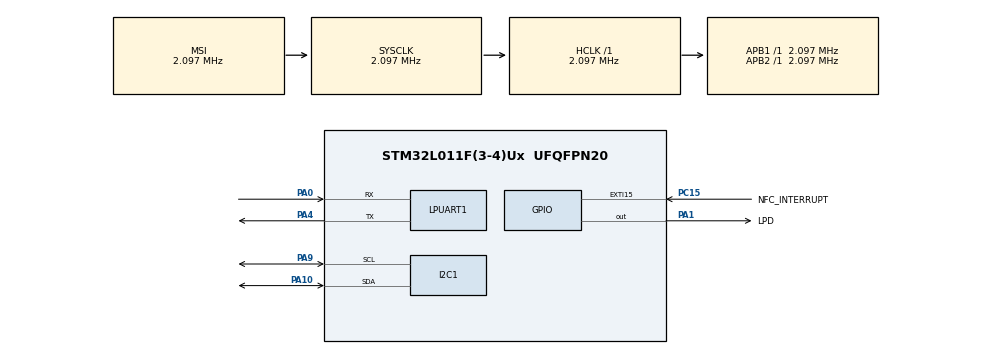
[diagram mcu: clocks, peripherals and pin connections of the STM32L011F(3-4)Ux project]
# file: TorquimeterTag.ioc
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I2C1.Timing=0x00000608
Mcu.Family=STM32L0
Mcu.Name=STM32L011F(3-4)Ux
Mcu.Package=UFQFPN20
NVIC.EXTI4_15_IRQn=true\:0\:0\:false\:false\:true\:true\:true\:true
NVIC.RTC_IRQn=true\:0\:0\:false\:false\:true\:true\:true\:true
PA0-CK_IN.Mode=Asynchronous
PA0-CK_IN.Signal=LPUART1_RX
PA1.GPIO_Label=LPD
PA1.Signal=GPIO_Output
PA10.Mode=I2C
PA10.Signal=I2C1_SDA
PA4.Mode=Asynchronous
PA4.Signal=LPUART1_TX
PA9.Mode=I2C
PA9.Signal=I2C1_SCL
PC15-OSC32_OUT.GPIO_Label=NFC_INTERRUPT
PC15-OSC32_OUT.Signal=GPXTI15
ProjectManager.HeapSize=0x200
ProjectManager.StackSize=0x400
ProjectManager.TargetToolchain=STM32CubeIDE
RCC.AHBFreq_Value=2097000
RCC.APB1Freq_Value=2097000
RCC.APB1TimFreq_Value=2097000
RCC.APB2Freq_Value=2097000
RCC.APB2TimFreq_Value=2097000
RCC.HSE_VALUE=8000000
RCC.HSI16_VALUE=16000000
RCC.HSI_VALUE=16000000
RCC.LSE_VALUE=32768
RCC.MSI_VALUE=2097000
RCC.SYSCLKFreq_VALUE=2097000
RCC.VCOOutputFreq_Value=48000000
VP_RTC_VS_RTC_Activate.Mode=RTC_Enabled
VP_RTC_VS_RTC_WakeUp_intern.Mode=WakeUp
board=custom

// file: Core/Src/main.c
/* USER CODE BEGIN Header */
/**
 ******************************************************************************
 * @file           : main.c
 * @brief          : Main program body
 ******************************************************************************
 * @attention
 *
 * Copyright (c) 2026 STMicroelectronics.
 * All rights reserved.
 *
 * This software is licensed under terms that can be found in the LICENSE file
 * in the root directory of this software component.
 * If no LICENSE file comes with this software, it is provided AS-IS.
 *
 ******************************************************************************
 */
/* USER CODE END Header */
#include "main.h"

/* USER CODE BEGIN Includes */
#include "string.h"
#include <stdlib.h>
#include "st25dv_driver.h"
/* USER CODE END Includes */

/* USER CODE BEGIN PD */
#define LSB_UV 63
// Ajuste este valor na calibração prática com um peso conhecido
#define USTRAIN_PER_BIT_x1000 1506

#define ADS1115_ADDR  (0x48 << 1)
#define ADS_REG_CONV  0x00
#define ADS_REG_CONF  0x01

#define CHARGING_INTERVAL_TICKS 1
static uint16_t wakeup_counter = 0;
static uint16_t wakeup_cycles = 10; //CHARGING_INTERVAL_MS / (8 * 1000);

#define READING_SAMPLING_INTERVAL_MS 4

#define SAMPLES_FOR_TARING 10
#define SAMPLES_FOR_READING 10

#define DEBUG_LOG

int32_t strain_uE = 0;
int32_t voltage_uV = 0;

uint32_t last_charging_process = 0;

typedef enum {
	CHARGING = 1, TARING = 2, READING = 3, PROCESSING = 4,
} Process_State;

uint8_t isTared = 0;

Process_State state = CHARGING;

static uint8_t i2c_initialized = 0;
static uint8_t uart_initialized = 0;
static uint8_t nfc_initialized = 0;

typedef enum {
    MSI_RANGE_131KHZ = RCC_MSIRANGE_2,   // 131 kHz - Ultra low power
    MSI_RANGE_2MHZ = RCC_MSIRANGE_4,     // 2.097 MHz - I2C mode
    MSI_RANGE_4MHZ = RCC_MSIRANGE_5      // 4.194 MHz - Fast I2C mode
} MSI_Range_t;
/* USER CODE END PD */

/* USER CODE BEGIN PM */
#define ACT_Pin        GPIO_PIN_7
#define ACT_GPIO_Port  GPIOA

static void ACT_Init(void) {
    GPIO_InitTypeDef g = {0};
    __HAL_RCC_GPIOA_CLK_ENABLE();

    /* escreve ANTES de virar saída, para não dar um pulso de ligado */
    HAL_GPIO_WritePin(ACT_GPIO_Port, ACT_Pin, GPIO_PIN_SET);

    g.Pin   = ACT_Pin;
    g.Mode  = GPIO_MODE_OUTPUT_PP;
    g.Pull  = GPIO_NOPULL;
    g.Speed = GPIO_SPEED_FREQ_LOW;
    HAL_GPIO_Init(ACT_GPIO_Port, &g);
}

#define MEAS_ON()   HAL_GPIO_WritePin(ACT_GPIO_Port, ACT_Pin, GPIO_PIN_RESET)
#define MEAS_OFF()  HAL_GPIO_WritePin(ACT_GPIO_Port, ACT_Pin, GPIO_PIN_SET)
/* USER CODE END PM */

I2C_HandleTypeDef hi2c1;

UART_HandleTypeDef hlpuart1;

RTC_HandleTypeDef hrtc;

void SystemClock_Config(void);
static void MX_GPIO_Init(void);
static void MX_LPUART1_UART_Init(void);
static void MX_I2C1_Init(void);
static void MX_RTC_Init(void);
/* USER CODE BEGIN PFP */
#ifdef DEBUG_LOG
	#define DEBUG_PRINT(msg) HAL_UART_Transmit(&hlpuart1, (uint8_t*)msg, strlen(msg), 200)
#else
	#define DEBUG_PRINT(msg) do {} while (0)
#endif
void I2C_Scanner(I2C_HandleTypeDef *hi2c);
/* USER CODE END PFP */

/* USER CODE BEGIN 0 */

void Set_MSI_Range(MSI_Range_t range) {
    RCC_OscInitTypeDef RCC_OscInitStruct = {0};
    RCC_ClkInitTypeDef RCC_ClkInitStruct = {0};

    // 1. Configurar novo range do MSI
    RCC_OscInitStruct.OscillatorType = RCC_OSCILLATORTYPE_MSI;
    RCC_OscInitStruct.MSIState = RCC_MSI_ON;
    RCC_OscInitStruct.MSICalibrationValue = 0;
    RCC_OscInitStruct.MSIClockRange = range;
    RCC_OscInitStruct.PLL.PLLState = RCC_PLL_NONE;

    if (HAL_RCC_OscConfig(&RCC_OscInitStruct) != HAL_OK) {
        Error_Handler();
    }

    // 2. Ajustar Flash Latency se necessário
    uint32_t flash_latency = (range == MSI_RANGE_131KHZ) ? FLASH_LATENCY_0 : FLASH_LATENCY_0;

    RCC_ClkInitStruct.ClockType = RCC_CLOCKTYPE_HCLK | RCC_CLOCKTYPE_SYSCLK
                                | RCC_CLOCKTYPE_PCLK1 | RCC_CLOCKTYPE_PCLK2;
    RCC_ClkInitStruct.SYSCLKSource = RCC_SYSCLKSOURCE_MSI;
    RCC_ClkInitStruct.AHBCLKDivider = RCC_SYSCLK_DIV1;
    RCC_ClkInitStruct.APB1CLKDivider = RCC_HCLK_DIV1;
    RCC_ClkInitStruct.APB2CLKDivider = RCC_HCLK_DIV1;

    if (HAL_RCC_ClockConfig(&RCC_ClkInitStruct, flash_latency) != HAL_OK) {
        Error_Handler();
    }
}

/* Função auxiliar para converter byte em Hex (ex: 0x2A) sem usar sprintf */
/* Requer um buffer de pelo menos 3 bytes (2 digitos + \0) */
void Uint8ToHexStr(uint8_t num, char *str) {
	const char hexDigits[] = "0123456789ABCDEF";
	str[0] = hexDigits[(num >> 4) & 0x0F]; // Nibble alto
	str[1] = hexDigits[num & 0x0F];        // Nibble baixo
	str[2] = '\0';                         // Terminador nulo
}

/* Função auxiliar para converter Inteiro em String decimal simples */
void IntToDecStr(uint8_t num, char *str) {
	uint8_t i = 0;
	if (num >= 100)
		str[i++] = (num / 100) + '0';
	if (num >= 10)
		str[i++] = ((num / 10) % 10) + '0';
	str[i++] = (num % 10) + '0';
	str[i] = '\0';
}

void I2C_Scanner(I2C_HandleTypeDef *hi2c) {
	// Reduzido de 64 bytes para apenas 4 bytes!
	char smallBuf[4];
	uint8_t devices_found = 0;

	DEBUG_PRINT("\r\n--- Scanning I2C bus ---\r\n");

	for (uint8_t addr = 1; addr < 128; addr++) {
		/* O HAL usa o endereço deslocado (shifted) à esquerda */
		if (HAL_I2C_IsDeviceReady(hi2c, (uint16_t) (addr << 1), 2, 10)
				== HAL_OK) {

			// Imprime em partes para não precisar de um buffer gigante
			DEBUG_PRINT("Device found at: 0x");

			// Converte endereço 7-bit
			Uint8ToHexStr(addr, smallBuf);
			DEBUG_PRINT(smallBuf);

			DEBUG_PRINT(" (8-bit: 0x");

			// Converte endereço 8-bit (write address)
			Uint8ToHexStr(addr << 1, smallBuf);
			DEBUG_PRINT(smallBuf);

			DEBUG_PRINT(")\r\n");

			devices_found++;
		}
	}

	if (devices_found == 0) {
		DEBUG_PRINT("No I2C devices found!\r\n");
	} else {
		DEBUG_PRINT("\r\nTotal devices found: ");
		IntToDecStr(devices_found, smallBuf);
		DEBUG_PRINT(smallBuf);
		DEBUG_PRINT("\r\n");
	}

	DEBUG_PRINT("--- Scan Complete ---\r\n");
}

int16_t ADS1115_Read(void) {
	uint8_t config[3];
	uint8_t data[2];
	int16_t raw_val;

	config[0] = ADS_REG_CONF;
	// --- CONFIGURAÇÃO DO MSB (Byte mais significativo) ---
	// Bit 15 (OS): 1 (Start Single Conversion)
	// Bits 14-12 (MUX): 100 -> AIN0 vs GND (Single-Ended) <--- CORRETO PARA SEU CIRCUITO
	// Bits 11-9 (PGA): 010 -> +/- 2.048V (Cobre seu range de 0 a 2V)
	// Bit 8 (MODE): 1 (Single-Shot)
	// Binário: 1100 0101 = 0xC5
	config[1] = 0xC5;

	// --- CONFIGURAÇÃO DO LSB (Byte menos significativo) ---
	// Bits 7-5 (DR): 100 -> 128 SPS (Padrão)
	// Bits 4-0 (COMP): Padrão (Disable comparator)
	// Binário: 1000 0011 = 0x83
	config[2] = 0x83;

	if (HAL_I2C_Master_Transmit(&hi2c1, ADS1115_ADDR, config, 3, 100) != HAL_OK)
		return -1;

	HAL_Delay(10);

	uint8_t reg_ptr = ADS_REG_CONV;
	HAL_I2C_Master_Transmit(&hi2c1, ADS1115_ADDR, &reg_ptr, 1, 100);

	if (HAL_I2C_Master_Receive(&hi2c1, ADS1115_ADDR, data, 2, 100) == HAL_OK) {
		raw_val = (int16_t) ((data[0] << 8) | data[1]);
		return raw_val;
	}
	return -1;
}

void debug_print_int(int32_t v) {
#ifdef DEBUG_LOG  // <--- INÍCIO DO BLOCO CONDICIONAL
	char buf[12];
	int i = 9;

	if (v < 0) {
		// Se quiser imprimir o sinal, descomente a linha abaixo
		HAL_UART_Transmit(&hlpuart1, (uint8_t*) "-", 1, 100);
		v = -v;
	}

	do {
		buf[i--] = '0' + (v % 10);
		v /= 10;
	} while (v);

	buf[10] = '\r';
	buf[11] = '\n';

	// Envia o buffer processado
	HAL_UART_Transmit(&hlpuart1, (uint8_t*) &buf[i + 1], 11 - i, 100);
#endif // <--- FIM DO BLOCO CONDICIONAL
}

void rtc_start_wakeup(uint16_t ticks) {
	HAL_RTCEx_DeactivateWakeUpTimer(&hrtc);

	__HAL_RTC_WAKEUPTIMER_CLEAR_FLAG(&hrtc, RTC_FLAG_WUTF);
	__HAL_PWR_CLEAR_FLAG(PWR_FLAG_WU);

	HAL_RTCEx_SetWakeUpTimer_IT(&hrtc, ticks, RTC_WAKEUPCLOCK_CK_SPRE_16BITS);
}

void enter_stop_mode(void) {

    if (i2c_initialized) {
        //uint8_t powerdown_config[3] = {ADS_REG_CONF, 0xC5, 0x83};
       // HAL_I2C_Master_Transmit(&hi2c1, ADS1115_ADDR, powerdown_config, 3, 100);

        __HAL_RCC_I2C1_CLK_DISABLE();

        GPIO_InitTypeDef GPIO_InitStruct = {0};
        GPIO_InitStruct.Pin = GPIO_PIN_9 | GPIO_PIN_10;
        GPIO_InitStruct.Mode = GPIO_MODE_ANALOG;
        GPIO_InitStruct.Pull = GPIO_NOPULL;
        HAL_GPIO_Init(GPIOA, &GPIO_InitStruct);

        HAL_I2C_DeInit(&hi2c1);

        i2c_initialized = 0;
    }

#ifdef DEBUG_LOG
    if (uart_initialized) {
        HAL_UART_DeInit(&hlpuart1);
        uart_initialized = 0;
    }
#endif

    Set_MSI_Range(MSI_RANGE_131KHZ);

    __HAL_PWR_CLEAR_FLAG(PWR_FLAG_WU);
    HAL_SuspendTick();
    HAL_PWR_EnterSTOPMode(PWR_LOWPOWERREGULATOR_ON, PWR_STOPENTRY_WFI);

    // Wake-up
    SystemClock_Config();
    HAL_ResumeTick();
}

void HAL_RTCEx_WakeUpTimerEventCallback(RTC_HandleTypeDef *hrtc) {
	wakeup_counter++;

	if (wakeup_counter >= wakeup_cycles) {
		wakeup_counter = 0;

		if (!isTared) {
			state = TARING;
		} else {
			state = READING;
		}
	} else {
		state = CHARGING;
	}
}

int32_t platform_i2c_write(uint8_t addr, uint16_t reg, uint8_t *data,
		uint16_t len) {
	return HAL_I2C_Mem_Write(&hi2c1, addr << 1, reg, I2C_MEMADD_SIZE_16BIT,
			data, len, 100);
}

int32_t platform_i2c_read(uint8_t addr, uint16_t reg, uint8_t *data,
		uint16_t len) {
	return HAL_I2C_Mem_Read(&hi2c1, addr << 1, reg, I2C_MEMADD_SIZE_16BIT, data,
			len, 100);
}

void platform_delay(uint32_t ms) {
    uint32_t loops = (SystemCoreClock / 4000U) * ms;
    while (loops--) { __NOP(); }
}

st25dv_io_t st25_driver = { .i2c_write = platform_i2c_write, .i2c_read =
		platform_i2c_read, .delay_ms =
		platform_delay };

void Setup_NFC(void) {
	int32_t status;
	uint8_t eh_config, mb_config;

	DEBUG_PRINT("--- Iniciando Setup NFC ---\r\n");

	// 1. Inicialização Básica
	status = ST25DV_Init(&st25_driver);
	if (status != 0) {
		DEBUG_PRINT("ST25DV Init: FALHA\r\n");
		return;
	}
	DEBUG_PRINT("ST25DV Init: SUCESSO\r\n");

	// 2. Apresentar Senha (necessário para acesso à EEPROM)
	status = ST25DV_I2C_PresentPassword(&st25_driver);
	if (status != 0) {
		DEBUG_PRINT("ST25DV Senha: FALHA\r\n");
		return;
	}

	HAL_Delay(10);

	// 3. Verificar Sessão I2C
	if (!ST25DV_I2C_IsSessionOpen(&st25_driver)) {
		DEBUG_PRINT("Sessao I2C: FECHADA\r\n");
		return;
	}
	DEBUG_PRINT("Sessao I2C: ABERTA\r\n");

	// 4. ✅ CONFIGURAÇÃO PERMANENTE: Energy Harvesting
	status = ST25DV_EH_ReadConfig_Static(&st25_driver, &eh_config);

	if (status == 0 && eh_config == 1) {
		DEBUG_PRINT("EH: JA CONFIGURADO (Permanente)\r\n");
	} else {
		DEBUG_PRINT("EH: Configurando pela primeira vez...\r\n");
		status = ST25DV_EH_Enable_Static(&st25_driver);
	}

	// 5. Habilitar EH no modo dinâmico (sempre necessário)
	ST25DV_EH_Enable_Dyn(&st25_driver);

	// 6. ✅ CONFIGURAÇÃO PERMANENTE: Mailbox
	status = ST25DV_MB_ReadConfig_Static(&st25_driver, &mb_config);

	if (status == 0 && mb_config == 1) {
		DEBUG_PRINT("Mailbox: JA CONFIGURADO (Permanente)\r\n");
	} else {
		DEBUG_PRINT("Mailbox: Configurando pela primeira vez...\r\n");
		status = ST25DV_MB_Enable_Static(&st25_driver);

		if (status == 0) {
			DEBUG_PRINT("Mailbox: HABILITADO (PERMANENTE)\r\n");
		} else {
			DEBUG_PRINT("Mailbox: FALHA ao configurar\r\n");
		}
	}

	// 7. Habilitar Mailbox no modo dinâmico (sempre necessário)
	ST25DV_MB_Enable_Dyn(&st25_driver);
	DEBUG_PRINT("Mailbox: Modo dinamico ativo\r\n");

	DEBUG_PRINT("--- Setup NFC Finalizado ---\r\n");
}

void Loop_NFC(void) {
	if (ST25DV_Field_On(&st25_driver)) {
		uint8_t msg[] = "Ola RF";
		ST25DV_MB_WriteMessage(&st25_driver, msg, sizeof(msg));
	}
}

/* Converte int32_t para string (ASCII) de forma leve */
void LongToStr(int32_t num, char *str) {
	int i = 0;
	uint8_t isNegative = 0;

	// Caso especial para 0
	if (num == 0) {
		str[0] = '0';
		str[1] = '\0';
		return;
	}

	// Lida com números negativos
	if (num < 0) {
		isNegative = 1;
		num = -num; // Torna positivo para processamento
	}

	// Extrai dígitos (gera a string invertida)
	while (num != 0) {
		str[i++] = (num % 10) + '0';
		num /= 10;
	}

	// Adiciona o sinal se necessário
	if (isNegative) {
		str[i++] = '-';
	}

	str[i] = '\0'; // Finaliza string

	// Inverte a string para a ordem correta
	for (int j = 0; j < i / 2; j++) {
		char temp = str[j];
		str[j] = str[i - 1 - j];
		str[i - 1 - j] = temp;
	}
}
/* USER CODE END 0 */

int main(void) {

	/* USER CODE BEGIN 1 */
	__HAL_RCC_SYSCFG_CLK_ENABLE();
	  SYSCFG->CFGR1 &= ~(SYSCFG_CFGR1_MEM_MODE);
	  SCB->VTOR = FLASH_BASE;
	/* USER CODE END 1 */

	/* MCU Configuration--------------------------------------------------------*/

	/* Reset of all peripherals, Initializes the Flash interface and the Systick. */
	HAL_Init();

	/* USER CODE BEGIN Init */
	__HAL_RCC_PWR_CLK_ENABLE();
	HAL_PWR_EnableBkUpAccess();
	__HAL_RCC_BACKUPRESET_FORCE();
	__HAL_RCC_BACKUPRESET_RELEASE();
	/* USER CODE END Init */

	/* Configure the system clock */
	SystemClock_Config();

	/* USER CODE BEGIN SysInit */
	//MX_GPIO_LowPower_Init();
#ifdef DEBUG_LOG
	MX_LPUART1_UART_Init();
	uart_initialized = 1;
#endif
	/* USER CODE END SysInit */

	/* Initialize all configured peripherals */
	MX_GPIO_Init();
	ACT_Init();
	MX_I2C1_Init();
	MX_RTC_Init();
	/* USER CODE BEGIN 2 */
	DEBUG_PRINT("--- Iniciando! ---\r\n");

	 MEAS_ON();

	I2C_Scanner(&hi2c1);
	Setup_NFC();

	int32_t offset = 0;
	int32_t average = 0;
	int32_t sum = 0;
	int count = 0;
	int16_t raw_adc = 0;

	DEBUG_PRINT("Starting...\r\n");

   // __HAL_RCC_I2C1_CLK_DISABLE();
   // __HAL_RCC_LPUART1_CLK_DISABLE();
	/* USER CODE END 2 */

	/* Infinite loop */
	/* USER CODE BEGIN WHILE */
	while (1) {
		/*switch (state) {
		case CHARGING:
			rtc_start_wakeup(CHARGING_INTERVAL_TICKS);
			enter_stop_mode();
			break;

		case TARING:
			Set_MSI_Range(MSI_RANGE_2MHZ);
		    if (!i2c_initialized) {
		        MX_I2C1_Init();
		        i2c_initialized = 1;
		    }

		#ifdef DEBUG_LOG
		    if (!uart_initialized) {
		        MX_LPUART1_UART_Init();
		        uart_initialized = 1;
		    }
		#endif

		    HAL_Delay(15);

			raw_adc = ADS1115_Read();

			if (abs(raw_adc) > 0) {
				if (count < SAMPLES_FOR_TARING) {
					sum += raw_adc;
					count++;
					offset = sum / count;
				} else {
					count = 0;
					sum = 0;

					DEBUG_PRINT("offset: \r\n");
					debug_print_int(offset);
					DEBUG_PRINT("\r\n");

					isTared = 1;

					state = CHARGING;
				}
			} else {

			}

			HAL_Delay(READING_SAMPLING_INTERVAL_MS);
			break;
		case READING:
			state = PROCESSING;
			break;

		case PROCESSING:

			Set_MSI_Range(MSI_RANGE_2MHZ);

		    if (!i2c_initialized) {
		        MX_I2C1_Init();
		        i2c_initialized = 1;
		    }

		#ifdef DEBUG_LOG
		    if (!uart_initialized) {
		        MX_LPUART1_UART_Init();
		        uart_initialized = 1;
		    }
		#endif

			if(!nfc_initialized){
				Setup_NFC();
				nfc_initialized = 1;
			}

		    HAL_Delay(15);

			raw_adc = ADS1115_Read();

			sum += raw_adc;
			count++;

			if (count > SAMPLES_FOR_READING) {
				average = sum / count;

				int32_t delta_bits = average - offset;

				// if (abs(delta_bits) > 0) { // Removido para atualizar mesmo se for 0
				voltage_uV = delta_bits * LSB_UV;
				strain_uE = (delta_bits * USTRAIN_PER_BIT_x1000) / 1000;

				sum = 0;
				count = 0;

				DEBUG_PRINT("voltage_uV: \r\n");
				debug_print_int(voltage_uV);
				DEBUG_PRINT("\r\n");
				// --- Debug via UART ---
				DEBUG_PRINT("strain_uE: \r\n");
				debug_print_int(strain_uE);
				DEBUG_PRINT("\r\n");

				// --- ATUALIZAÇÃO NFC MAILBOX ---
				// Buffer para string (sinal + 10 digitos + null)W
				//char nfc_buffer[12];
				char nfc_buffer[12];

				// 2. Converter o valor REAL (strain_uE) para Texto Puro
				LongToStr(strain_uE, nfc_buffer);

				// 3. Calcular o tamanho da mensagem gerada
				uint8_t msg_len = (uint8_t) strlen(nfc_buffer);

				// 4. Enviar para o Mailbox
				// Cast para (uint8_t*) é necessário pois a função espera bytes crus
				if (ST25DV_MB_WriteMessage(&st25_driver, (uint8_t*) nfc_buffer,
						msg_len) == 0) {
					DEBUG_PRINT("NFC Updated\r\n");
				} else {
					DEBUG_PRINT("NFC Write Failed (Busy?)\r\n");
				}

				state = CHARGING;
			}

			HAL_Delay(READING_SAMPLING_INTERVAL_MS);
			break;

		}*/
		/* USER CODE END WHILE */

	}
}

void SystemClock_Config(void) {
	RCC_OscInitTypeDef RCC_OscInitStruct = { 0 };
	RCC_ClkInitTypeDef RCC_ClkInitStruct = { 0 };
	RCC_PeriphCLKInitTypeDef PeriphClkInit = { 0 };

	/** Configure the main internal regulator output voltage
	 */
	__HAL_PWR_VOLTAGESCALING_CONFIG(PWR_REGULATOR_VOLTAGE_SCALE3);

	/** Initializes the RCC Oscillators according to the specified parameters
	 * in the RCC_OscInitTypeDef structure.
	 */
	RCC_OscInitStruct.OscillatorType = RCC_OSCILLATORTYPE_LSI
			| RCC_OSCILLATORTYPE_MSI;
	RCC_OscInitStruct.LSIState = RCC_LSI_ON;
	RCC_OscInitStruct.MSIState = RCC_MSI_ON;
	RCC_OscInitStruct.MSICalibrationValue = 0;
	RCC_OscInitStruct.MSIClockRange = RCC_MSIRANGE_5;
	RCC_OscInitStruct.PLL.PLLState = RCC_PLL_NONE;
	if (HAL_RCC_OscConfig(&RCC_OscInitStruct) != HAL_OK) {
		Error_Handler();
	}

	/** Initializes the CPU, AHB and APB buses clocks
	 */
	RCC_ClkInitStruct.ClockType = RCC_CLOCKTYPE_HCLK | RCC_CLOCKTYPE_SYSCLK
			| RCC_CLOCKTYPE_PCLK1 | RCC_CLOCKTYPE_PCLK2;
	RCC_ClkInitStruct.SYSCLKSource = RCC_SYSCLKSOURCE_MSI;
	RCC_ClkInitStruct.AHBCLKDivider = RCC_SYSCLK_DIV1;
	RCC_ClkInitStruct.APB1CLKDivider = RCC_HCLK_DIV1;
	RCC_ClkInitStruct.APB2CLKDivider = RCC_HCLK_DIV1;

	if (HAL_RCC_ClockConfig(&RCC_ClkInitStruct, FLASH_LATENCY_0) != HAL_OK) {
		Error_Handler();
	}
	PeriphClkInit.PeriphClockSelection = RCC_PERIPHCLK_LPUART1
			| RCC_PERIPHCLK_I2C1 | RCC_PERIPHCLK_RTC;
	PeriphClkInit.Lpuart1ClockSelection = RCC_LPUART1CLKSOURCE_PCLK1;
	PeriphClkInit.I2c1ClockSelection = RCC_I2C1CLKSOURCE_PCLK1;
	PeriphClkInit.RTCClockSelection = RCC_RTCCLKSOURCE_LSI;
	if (HAL_RCCEx_PeriphCLKConfig(&PeriphClkInit) != HAL_OK) {
		Error_Handler();
	}
}

static void MX_I2C1_Init(void) {

	/* USER CODE BEGIN I2C1_Init 0 */
	__HAL_RCC_I2C1_CLK_ENABLE();
	/* USER CODE END I2C1_Init 0 */

	hi2c1.Instance = I2C1;
	hi2c1.Init.Timing = 0x00503D5A;
	hi2c1.Init.OwnAddress1 = 0;
	hi2c1.Init.AddressingMode = I2C_ADDRESSINGMODE_7BIT;
	hi2c1.Init.DualAddressMode = I2C_DUALADDRESS_DISABLE;
	hi2c1.Init.OwnAddress2 = 0;
	hi2c1.Init.OwnAddress2Masks = I2C_OA2_NOMASK;
	hi2c1.Init.GeneralCallMode = I2C_GENERALCALL_DISABLE;
	hi2c1.Init.NoStretchMode = I2C_NOSTRETCH_DISABLE;
	if (HAL_I2C_Init(&hi2c1) != HAL_OK) {
		Error_Handler();
	}

	/** Configure Analogue filter
	 */
	if (HAL_I2CEx_ConfigAnalogFilter(&hi2c1, I2C_ANALOGFILTER_ENABLE)
			!= HAL_OK) {
		Error_Handler();
	}

	/** Configure Digital filter
	 */
	if (HAL_I2CEx_ConfigDigitalFilter(&hi2c1, 0) != HAL_OK) {
		Error_Handler();
	}

}

static void MX_LPUART1_UART_Init(void) {

	/* USER CODE BEGIN LPUART1_Init 0 */
	__HAL_RCC_LPUART1_CLK_ENABLE();
	/* USER CODE END LPUART1_Init 0 */

	hlpuart1.Instance = LPUART1;
	hlpuart1.Init.BaudRate = 9600;
	hlpuart1.Init.WordLength = UART_WORDLENGTH_8B;
	hlpuart1.Init.StopBits = UART_STOPBITS_1;
	hlpuart1.Init.Parity = UART_PARITY_NONE;
	hlpuart1.Init.Mode = UART_MODE_TX_RX;
	hlpuart1.Init.HwFlowCtl = UART_HWCONTROL_NONE;
	hlpuart1.Init.OneBitSampling = UART_ONE_BIT_SAMPLE_DISABLE;
	hlpuart1.AdvancedInit.AdvFeatureInit = UART_ADVFEATURE_NO_INIT;
	if (HAL_UART_Init(&hlpuart1) != HAL_OK) {
		Error_Handler();
	}

}

static void MX_RTC_Init(void) {

	/** Initialize RTC Only
	 */
	hrtc.Instance = RTC;
	hrtc.Init.HourFormat = RTC_HOURFORMAT_24;
	hrtc.Init.AsynchPrediv = 127;
	hrtc.Init.SynchPrediv = 255;
	hrtc.Init.OutPut = RTC_OUTPUT_DISABLE;
	hrtc.Init.OutPutRemap = RTC_OUTPUT_REMAP_NONE;
	hrtc.Init.OutPutPolarity = RTC_OUTPUT_POLARITY_HIGH;
	hrtc.Init.OutPutType = RTC_OUTPUT_TYPE_OPENDRAIN;
	if (HAL_RTC_Init(&hrtc) != HAL_OK) {
		Error_Handler();
	}

	/** Enable the WakeUp
	 */
	if (HAL_RTCEx_SetWakeUpTimer_IT(&hrtc, 0, RTC_WAKEUPCLOCK_RTCCLK_DIV16)
			!= HAL_OK) {
		Error_Handler();
	}

}

static void MX_GPIO_Init(void) {
	GPIO_InitTypeDef GPIO_InitStruct = { 0 };

	/* GPIO Ports Clock Enable */
	__HAL_RCC_GPIOC_CLK_ENABLE();
	__HAL_RCC_GPIOA_CLK_ENABLE();

	/*Configure GPIO pin Output Level */
	HAL_GPIO_WritePin(LPD_GPIO_Port, LPD_Pin, GPIO_PIN_RESET);

	/*Configure GPIO pin : NFC_INTERRUPT_Pin */
	GPIO_InitStruct.Pin = NFC_INTERRUPT_Pin;
	GPIO_InitStruct.Mode = GPIO_MODE_IT_RISING;
	GPIO_InitStruct.Pull = GPIO_NOPULL;
	HAL_GPIO_Init(NFC_INTERRUPT_GPIO_Port, &GPIO_InitStruct);

	/*Configure GPIO pin : LPD_Pin */
	GPIO_InitStruct.Pin = LPD_Pin;
	GPIO_InitStruct.Mode = GPIO_MODE_OUTPUT_PP;
	GPIO_InitStruct.Pull = GPIO_NOPULL;
	GPIO_InitStruct.Speed = GPIO_SPEED_FREQ_LOW;
	HAL_GPIO_Init(LPD_GPIO_Port, &GPIO_InitStruct);

	/* EXTI interrupt init*/
	HAL_NVIC_SetPriority(EXTI4_15_IRQn, 0, 0);
	HAL_NVIC_EnableIRQ(EXTI4_15_IRQn);

}

/* USER CODE BEGIN 4 */
void MX_GPIO_LowPower_Init(void) {
    GPIO_InitTypeDef GPIO_InitStruct = {0};

    __HAL_RCC_GPIOA_CLK_ENABLE();
    __HAL_RCC_GPIOB_CLK_ENABLE();
    __HAL_RCC_GPIOC_CLK_ENABLE();

    GPIO_InitStruct.Mode = GPIO_MODE_ANALOG;
    GPIO_InitStruct.Pull = GPIO_NOPULL;

    GPIO_InitStruct.Pin = GPIO_PIN_0 | GPIO_PIN_1 | GPIO_PIN_4 | GPIO_PIN_5 |
                          GPIO_PIN_6 | GPIO_PIN_7 | GPIO_PIN_9 | GPIO_PIN_10;
    HAL_GPIO_Init(GPIOA, &GPIO_InitStruct);

    GPIO_InitStruct.Pin = GPIO_PIN_1 | GPIO_PIN_6 | GPIO_PIN_7 | GPIO_PIN_9;
    HAL_GPIO_Init(GPIOB, &GPIO_InitStruct);

    GPIO_InitStruct.Pin = GPIO_PIN_14 | GPIO_PIN_15;
    HAL_GPIO_Init(GPIOC, &GPIO_InitStruct);

    GPIO_InitStruct.Pin = LPD_Pin;
    GPIO_InitStruct.Mode = GPIO_MODE_OUTPUT_PP;
    GPIO_InitStruct.Pull = GPIO_NOPULL;
    GPIO_InitStruct.Speed = GPIO_SPEED_FREQ_LOW;
    HAL_GPIO_Init(LPD_GPIO_Port, &GPIO_InitStruct);
    HAL_GPIO_WritePin(LPD_GPIO_Port, LPD_Pin, GPIO_PIN_RESET);
}
/* USER CODE END 4 */

void Error_Handler(void) {
	__disable_irq();
	while (1) {
	}
}
